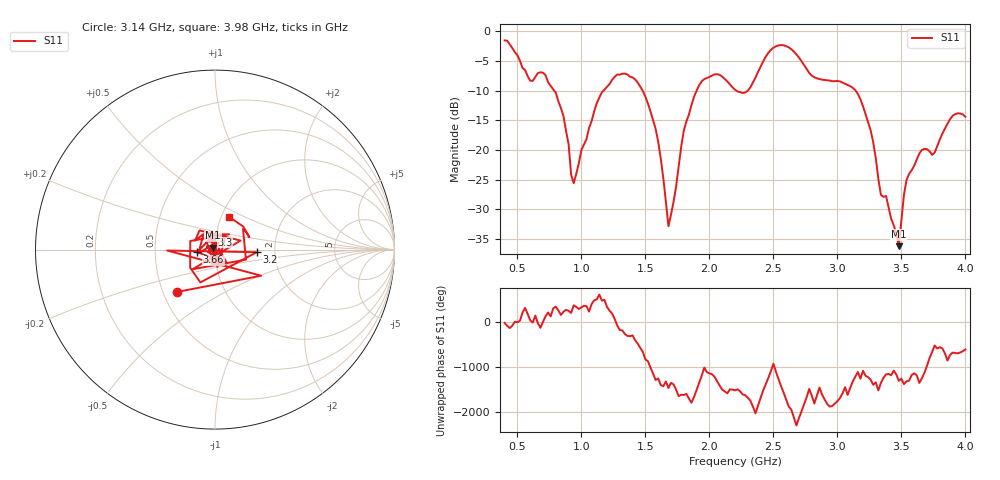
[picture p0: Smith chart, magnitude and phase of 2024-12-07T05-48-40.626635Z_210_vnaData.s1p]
!Created with skrf (http://scikit-rf.org).
# Hz S RI R 50.0
!freq ReS11 ImS11
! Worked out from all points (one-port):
!   181 points, 400 MHz to 4 GHz, reference 50 ohm
!   lowest |S11| = -36.2 dB at 3.48 GHz (marker M1), VSWR 1.03, Z = 48.9 + j1.06 ohm
!   |S11| at or under -10 dB: 787.1 MHz to 1.174 GHz (386.6 MHz wide, 39.4 % of centre); 1.478 GHz to 1.901 GHz (422.4 MHz wide, 25 % of centre); 3.142 GHz to end of sweep (the widest 3 of 4)
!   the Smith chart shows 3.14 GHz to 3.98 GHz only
!   S11 on the Smith chart (normalised r, x): 3.14 GHz: 0.59, -0.31; 3.2 GHz: 1.60, -0.05; 3.3 GHz: 0.95, +0.16; 3.66 GHz: 0.82, -0.02; 3.98 GHz: 1.08, +0.41
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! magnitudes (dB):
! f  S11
! 400 MHz  -1.6
! 600 MHz  -8.3
! 720 MHz  -7.4
! 860 MHz  -14.3
! 940 MHz  -25.6
! 1.12 GHz  -12.1
! 1.3 GHz  -7.3
! 1.54 GHz  -13.5
! 1.6 GHz  -18.6
! 1.68 GHz  -32.8
! 1.76 GHz  -22.7
! 1.8 GHz  -16.8
! 1.94 GHz  -8.4
! 2.2 GHz  -9.9
! 2.3 GHz  -10.0
! 2.5 GHz  -2.8
! 2.66 GHz  -3.5
! 3.1 GHz  -9.3
! 3.14 GHz  -9.9
! 3.2 GHz  -12.7
! 3.3 GHz  -21.4
! 3.34 GHz  -27.5
! 3.48 GHz  -36.2
! 3.52 GHz  -27.5
! 3.56 GHz  -24.0
! 3.66 GHz  -20.0
! 3.98 GHz  -14.0
! 4 GHz  -14.4
